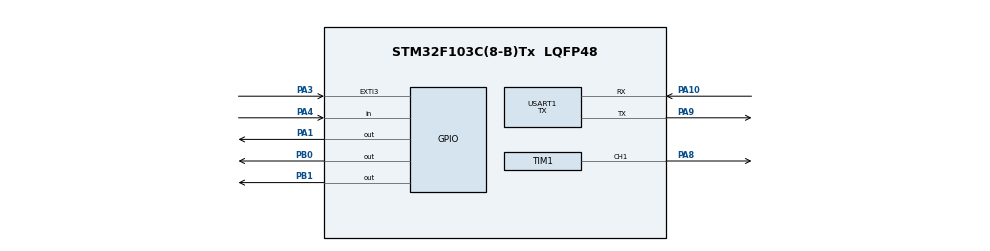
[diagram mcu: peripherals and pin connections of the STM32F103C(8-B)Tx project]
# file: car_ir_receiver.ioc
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Mcu.Family=STM32F1
Mcu.Name=STM32F103C(8-B)Tx
Mcu.Package=LQFP48
NVIC.EXTI3_IRQn=true\:0\:0\:false\:false\:true\:true\:true
NVIC.PriorityGroup=NVIC_PRIORITYGROUP_4
NVIC.TIM1_UP_IRQn=true\:0\:0\:false\:false\:true\:true\:true
NVIC.TIM2_IRQn=true\:0\:0\:false\:false\:true\:true\:true
PA1.Signal=GPIO_Output
PA10.Mode=Asynchronous
PA10.Signal=USART1_RX
PA13.Mode=Serial_Wire
PA13.Signal=SYS_JTMS-SWDIO
PA14.Mode=Serial_Wire
PA14.Signal=SYS_JTCK-SWCLK
PA3.GPIO_ModeDefaultEXTI=GPIO_MODE_IT_FALLING
PA3.GPIO_PuPd=GPIO_PULLUP
PA3.Signal=GPXTI3
PA4.GPIO_PuPd=GPIO_PULLUP
PA4.Signal=GPIO_Input
PA8.GPIO_Speed=GPIO_SPEED_FREQ_HIGH
PA8.Signal=S_TIM1_CH1
PA9.Mode=Asynchronous
PA9.Signal=USART1_TX
PB0.Signal=GPIO_Output
PB1.GPIO_ModeDefaultOutputPP=GPIO_MODE_OUTPUT_PP
PB1.Signal=GPIO_Output
PC14-OSC32_IN.Mode=LSE-External-Oscillator
PC14-OSC32_IN.Signal=RCC_OSC32_IN
PC15-OSC32_OUT.Mode=LSE-External-Oscillator
PC15-OSC32_OUT.Signal=RCC_OSC32_OUT
PD0-OSC_IN.Mode=HSE-External-Oscillator
PD0-OSC_IN.Signal=RCC_OSC_IN
PD1-OSC_OUT.Mode=HSE-External-Oscillator
PD1-OSC_OUT.Signal=RCC_OSC_OUT
ProjectManager.HeapSize=0x200
ProjectManager.StackSize=0x400
ProjectManager.TargetToolchain=TrueSTUDIO
RCC.AHBFreq_Value=16000000
RCC.APB1CLKDivider=RCC_HCLK_DIV2
RCC.APB1Freq_Value=8000000
RCC.APB1TimFreq_Value=16000000
RCC.APB2Freq_Value=16000000
RCC.APB2TimFreq_Value=16000000
RCC.HCLKFreq_Value=16000000
RCC.PLLSourceVirtual=RCC_PLLSOURCE_HSE
RCC.SYSCLKFreq_VALUE=16000000
RCC.SYSCLKSource=RCC_SYSCLKSOURCE_PLLCLK
RCC.USBFreq_Value=16000000
SH.S_TIM1_CH1.0=TIM1_CH1,PWM Generation1 CH1
TIM1.Channel-PWM\ Generation1\ CH1=TIM_CHANNEL_1
TIM1.OCMode_PWM-PWM\ Generation1\ CH1=TIM_OCMODE_PWM2
TIM1.Period=7
TIM1.Prescaler=15
TIM1.Pulse-PWM\ Generation1\ CH1=4
TIM2.AutoReloadPreload=TIM_AUTORELOAD_PRELOAD_ENABLE
TIM2.Period=99
TIM2.Prescaler=15
USART1.Mode=MODE_TX
USART1.VirtualMode=VM_ASYNC
VP_TIM1_VS_ClockSourceINT.Mode=Internal
VP_TIM1_VS_OPM.Mode=OPM_bit
VP_TIM2_VS_ClockSourceINT.Mode=Internal
board=custom

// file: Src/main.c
/* USER CODE BEGIN Header */
/**
  ******************************************************************************
  * @file           : main.c
  * @brief          : Main program body
  * Nikolay Belov, 2019
  ******************************************************************************
  * @attention
  *
  * <h2><center>&copy; Copyright (c) 2019 STMicroelectronics.
  * All rights reserved.</center></h2>
  *
  * This software component is licensed by ST under BSD 3-Clause license,
  * the "License"; You may not use this file except in compliance with the
  * License. You may obtain a copy of the License at:
  *                        opensource.org/licenses/BSD-3-Clause
  *
  ******************************************************************************
  */
/* USER CODE END Header */

#include "main.h"

/* USER CODE BEGIN Includes */
#include <stdio.h>
//#include "ir_codes.h"
#include "flash.h"

/* USER CODE END Includes */

/* USER CODE BEGIN PTD */

typedef union {
	uint8_t adcod[2];	// adcod[0] - address, adcod[1] - code
	uint16_t adrcode;	// both
} ir_codes;

/* USER CODE END PTD */

/* USER CODE BEGIN PD */

#define PAGE_63_ADDR 	0x0800FC00
#define CODES_SIGNATURE	0x66AA
#define CODES_MAX		25
#define PULSES_MAX		99
// duration connected state of Potentiometer, mS
#define KEY_PULSE		200

/* USER CODE END PD */

/* USER CODE BEGIN PV */
uint8_t flag_pulse = 0;

uint8_t flagCounting = 0;
uint16_t ucTim2Flag = 0;

// IR packet variables
uint8_t irdata[33];             //Used to record the time between two falling edges
uint8_t receiveComplete;        //Receive Complete Flag Bits
uint8_t idx;                    //Number received for indexing
uint8_t startflag;              //Indicates start of reception
char sndbuf[128];
ir_codes butt_codes[CODES_MAX];	// signature + IR codes array

uint8_t teachingFlag = 0;		//
uint8_t teach_counter = 0;
//uint8_t ir_address = 0;

/* USER CODE END PV */

void SystemClock_Config(void);
static void MX_GPIO_Init(void);
static void MX_TIM1_Init(void);
static void MX_TIM2_Init(void);
static void MX_USART1_UART_Init(void);
/* USER CODE BEGIN PFP */
ir_codes decode_package(void);
uint8_t get_pulses(ir_codes adcom);
void led_blink(uint8_t cnt);
void BufferTransfer(char *buf, uint8_t sz);
void save_codes_to_flash(void);

/* USER CODE END PFP */

int main(void)
{
  /* USER CODE BEGIN 1 */
	int8_t curr_count = 0;
  /* USER CODE END 1 */

  /* MCU Configuration--------------------------------------------------------*/

  /* Reset of all peripherals, Initializes the Flash interface and the Systick. */

  LL_APB2_GRP1_EnableClock(LL_APB2_GRP1_PERIPH_AFIO);
  LL_APB1_GRP1_EnableClock(LL_APB1_GRP1_PERIPH_PWR);

  NVIC_SetPriorityGrouping(NVIC_PRIORITYGROUP_4);

  /* System interrupt init*/

  /** NOJTAG: JTAG-DP Disabled and SW-DP Enabled
  */
  LL_GPIO_AF_Remap_SWJ_NOJTAG();

  /* Configure the system clock */
  SystemClock_Config();

  /* Initialize all configured peripherals */
  MX_GPIO_Init();
  MX_TIM1_Init();
  MX_TIM2_Init();
  MX_USART1_UART_Init();
  /* USER CODE BEGIN 2 */

	receiveComplete = 0;
	startflag = 0;
	LL_GPIO_ResetOutputPin(GPIOB, LL_GPIO_PIN_1);	// break Potentiometer out

	// FLASH read
	uint32_t addr = PAGE_63_ADDR;
	for (uint8_t i = 0; i < (CODES_MAX); i++)
	{
		butt_codes[i].adrcode = flash_read(addr);
		addr += 2;
	}

	if (butt_codes[0].adrcode != CODES_SIGNATURE) {
		// saved array not exists -> Set Teaching mode
		teachingFlag = 1;
		teach_counter = 1;
		led_blink(4);
	}

  /**************************/
    /* Start pulse generation */
    /**************************/
    /* Enable channel 1 */
    LL_TIM_CC_EnableChannel(TIM1, LL_TIM_CHANNEL_CH1);
    //LL_TIM_CC_EnableChannel(TIM1, LL_TIM_CHANNEL_CH1N);

    /* Enable TIM1 outputs */
    LL_TIM_EnableAllOutputs(TIM1);

    /* Enable auto-reload register preload */
    LL_TIM_EnableARRPreload(TIM1);

    LL_TIM_EnableIT_UPDATE(TIM1);

    // Set Potentiometer to 0
    LL_TIM_DisableCounter(TIM1);
	LL_GPIO_ResetOutputPin(GPIOB, LL_GPIO_PIN_0);	// count down
	LL_TIM_SetRepetitionCounter(TIM1, 100);
	LL_TIM_GenerateEvent_UPDATE(TIM1);	// update RCR
	flag_pulse = 1;
	LL_TIM_EnableCounter(TIM1);
	while (flag_pulse)
	{
		LL_mDelay(4);
	}

  /* USER CODE END 2 */

  /* Infinite loop */
  /* USER CODE BEGIN WHILE */
	ir_codes ircode;

  while (1)
  {
    /* USER CODE END WHILE */

    /* USER CODE BEGIN 3 */
	  if (receiveComplete)	// packet received
	  {
		  ircode = decode_package();	// 0xFF - broken IR package (code != ~code)
		  if (ircode.adcod[1] < 0xFF)
		  {
			  if (teachingFlag)
			  {
				  if (teach_counter < CODES_MAX)
				  {
					  butt_codes[teach_counter].adrcode = ircode.adrcode;
					  teach_counter++;
				  }
				  if (teach_counter == CODES_MAX)
				  {
					  led_blink(5);	// 5 - save codes and switch to work mode
					  save_codes_to_flash();
					  teachingFlag = 0;
					  teach_counter = 1;
				  }
				  else
				  {
					  led_blink(2);	// 2 - expect next code
				  }
			  }
			  else	// work mode
			  {
				  LL_GPIO_SetOutputPin(GPIOA, LL_GPIO_PIN_1);

				  int8_t npulses = get_pulses(ircode);
				  while (flag_pulse)
				  {
					  LL_mDelay(4);
				  }
				  uint8_t pulses = 0;
				  int8_t d = curr_count - npulses;
				  if ( d != 0)
				  {
					  if (d > 0)	// count down
					  {
						  LL_GPIO_ResetOutputPin(GPIOB, LL_GPIO_PIN_0);
						  pulses = d;
						  if (pulses > curr_count)
						  {
							  curr_count = 0;
						  }
						  else
						  {
							  curr_count -= pulses;
						  }
					  }
					  else	// count up
					  {
						  LL_GPIO_SetOutputPin(GPIOB, LL_GPIO_PIN_0);
						  pulses = -d;
						  if ((curr_count + pulses) > PULSES_MAX)
						  {
							  curr_count = PULSES_MAX;
						  }
						  else
						  {
							  curr_count += pulses;
						  }
					  }
					  LL_TIM_SetRepetitionCounter(TIM1, pulses - 1);
					  LL_TIM_GenerateEvent_UPDATE(TIM1);	// update RCR
					  flag_pulse = 1;
					  LL_TIM_EnableCounter(TIM1);

					  receiveComplete = 0;
					  startflag = 0;

					  while (flag_pulse)
					  {
						  LL_mDelay(4);
					  }
				  }
				  // connect Potentiometer out
				  LL_GPIO_SetOutputPin(GPIOB, LL_GPIO_PIN_1);
				  LL_mDelay(KEY_PULSE);
				  // break Potentiometer out
				  LL_GPIO_ResetOutputPin(GPIOB, LL_GPIO_PIN_1);

				  LL_GPIO_ResetOutputPin(GPIOA, LL_GPIO_PIN_1);
			  }
		  }
		  receiveComplete = 0;
		  startflag = 0;
		  BufferTransfer(sndbuf, 32);
	  }	// if (receiveComplete)
	  else
	  {
		  // Check if Teaching mode button is pressed
		  if (!LL_GPIO_IsInputPinSet(GPIOA, LL_GPIO_PIN_4))
		  {
			  if (!teachingFlag)
			  {
				  // Set Teaching mode
				  teachingFlag = 1;
				  teach_counter = 1;
				  led_blink(4);
			  }
		  }
	  }

  }
  /* USER CODE END 3 */
}

void SystemClock_Config(void)
{
  LL_FLASH_SetLatency(LL_FLASH_LATENCY_0);

  if(LL_FLASH_GetLatency() != LL_FLASH_LATENCY_0)
  {
    Error_Handler();
  }
  LL_RCC_HSE_Enable();

   /* Wait till HSE is ready */
  while(LL_RCC_HSE_IsReady() != 1)
  {

  }
  LL_RCC_PLL_ConfigDomain_SYS(LL_RCC_PLLSOURCE_HSE_DIV_1, LL_RCC_PLL_MUL_2);
  LL_RCC_PLL_Enable();

   /* Wait till PLL is ready */
  while(LL_RCC_PLL_IsReady() != 1)
  {

  }
  LL_RCC_SetAHBPrescaler(LL_RCC_SYSCLK_DIV_1);
  LL_RCC_SetAPB1Prescaler(LL_RCC_APB1_DIV_2);
  LL_RCC_SetAPB2Prescaler(LL_RCC_APB2_DIV_1);
  LL_RCC_SetSysClkSource(LL_RCC_SYS_CLKSOURCE_PLL);

   /* Wait till System clock is ready */
  while(LL_RCC_GetSysClkSource() != LL_RCC_SYS_CLKSOURCE_STATUS_PLL)
  {

  }
  LL_Init1msTick(16000000);
  LL_SYSTICK_SetClkSource(LL_SYSTICK_CLKSOURCE_HCLK);
  LL_SetSystemCoreClock(16000000);
}

static void MX_TIM1_Init(void)
{

  LL_TIM_InitTypeDef TIM_InitStruct = {0};
  LL_TIM_OC_InitTypeDef TIM_OC_InitStruct = {0};
  LL_TIM_BDTR_InitTypeDef TIM_BDTRInitStruct = {0};

  LL_GPIO_InitTypeDef GPIO_InitStruct = {0};

  /* Peripheral clock enable */
  LL_APB2_GRP1_EnableClock(LL_APB2_GRP1_PERIPH_TIM1);

  /* TIM1 interrupt Init */
  NVIC_SetPriority(TIM1_UP_IRQn, NVIC_EncodePriority(NVIC_GetPriorityGrouping(),0, 0));
  NVIC_EnableIRQ(TIM1_UP_IRQn);

  TIM_InitStruct.Prescaler = 15;
  TIM_InitStruct.CounterMode = LL_TIM_COUNTERMODE_UP;
  TIM_InitStruct.Autoreload = 7;
  TIM_InitStruct.ClockDivision = LL_TIM_CLOCKDIVISION_DIV1;
  TIM_InitStruct.RepetitionCounter = 0;
  LL_TIM_Init(TIM1, &TIM_InitStruct);
  LL_TIM_DisableARRPreload(TIM1);
  LL_TIM_SetClockSource(TIM1, LL_TIM_CLOCKSOURCE_INTERNAL);
  LL_TIM_OC_EnablePreload(TIM1, LL_TIM_CHANNEL_CH1);
  TIM_OC_InitStruct.OCMode = LL_TIM_OCMODE_PWM2;
  TIM_OC_InitStruct.OCState = LL_TIM_OCSTATE_DISABLE;
  TIM_OC_InitStruct.OCNState = LL_TIM_OCSTATE_DISABLE;
  TIM_OC_InitStruct.CompareValue = 4;
  TIM_OC_InitStruct.OCPolarity = LL_TIM_OCPOLARITY_HIGH;
  TIM_OC_InitStruct.OCNPolarity = LL_TIM_OCPOLARITY_HIGH;
  TIM_OC_InitStruct.OCIdleState = LL_TIM_OCIDLESTATE_LOW;
  TIM_OC_InitStruct.OCNIdleState = LL_TIM_OCIDLESTATE_LOW;
  LL_TIM_OC_Init(TIM1, LL_TIM_CHANNEL_CH1, &TIM_OC_InitStruct);
  LL_TIM_OC_DisableFast(TIM1, LL_TIM_CHANNEL_CH1);
  LL_TIM_SetOnePulseMode(TIM1, LL_TIM_ONEPULSEMODE_SINGLE);
  LL_TIM_SetTriggerOutput(TIM1, LL_TIM_TRGO_RESET);
  LL_TIM_DisableMasterSlaveMode(TIM1);
  TIM_BDTRInitStruct.OSSRState = LL_TIM_OSSR_DISABLE;
  TIM_BDTRInitStruct.OSSIState = LL_TIM_OSSI_DISABLE;
  TIM_BDTRInitStruct.LockLevel = LL_TIM_LOCKLEVEL_OFF;
  TIM_BDTRInitStruct.DeadTime = 0;
  TIM_BDTRInitStruct.BreakState = LL_TIM_BREAK_DISABLE;
  TIM_BDTRInitStruct.BreakPolarity = LL_TIM_BREAK_POLARITY_HIGH;
  TIM_BDTRInitStruct.AutomaticOutput = LL_TIM_AUTOMATICOUTPUT_DISABLE;
  LL_TIM_BDTR_Init(TIM1, &TIM_BDTRInitStruct);
  LL_APB2_GRP1_EnableClock(LL_APB2_GRP1_PERIPH_GPIOA);
  /**TIM1 GPIO Configuration
  PA8   ------> TIM1_CH1
  */
  GPIO_InitStruct.Pin = LL_GPIO_PIN_8;
  GPIO_InitStruct.Mode = LL_GPIO_MODE_ALTERNATE;
  GPIO_InitStruct.Speed = LL_GPIO_SPEED_FREQ_HIGH;
  GPIO_InitStruct.OutputType = LL_GPIO_OUTPUT_PUSHPULL;
  LL_GPIO_Init(GPIOA, &GPIO_InitStruct);

}

static void MX_TIM2_Init(void)
{

  LL_TIM_InitTypeDef TIM_InitStruct = {0};

  /* Peripheral clock enable */
  LL_APB1_GRP1_EnableClock(LL_APB1_GRP1_PERIPH_TIM2);

  /* TIM2 interrupt Init */
  NVIC_SetPriority(TIM2_IRQn, NVIC_EncodePriority(NVIC_GetPriorityGrouping(),0, 0));
  NVIC_EnableIRQ(TIM2_IRQn);

  TIM_InitStruct.Prescaler = 15;
  TIM_InitStruct.CounterMode = LL_TIM_COUNTERMODE_UP;
  TIM_InitStruct.Autoreload = 99;
  TIM_InitStruct.ClockDivision = LL_TIM_CLOCKDIVISION_DIV1;
  LL_TIM_Init(TIM2, &TIM_InitStruct);
  LL_TIM_EnableARRPreload(TIM2);
  LL_TIM_SetClockSource(TIM2, LL_TIM_CLOCKSOURCE_INTERNAL);
  LL_TIM_SetTriggerOutput(TIM2, LL_TIM_TRGO_RESET);
  LL_TIM_DisableMasterSlaveMode(TIM2);
  /* USER CODE BEGIN TIM2_Init 2 */
  LL_TIM_EnableIT_UPDATE(TIM2);
  LL_TIM_EnableCounter(TIM2);
  LL_TIM_GenerateEvent_UPDATE(TIM2);
  /* USER CODE END TIM2_Init 2 */

}

static void MX_USART1_UART_Init(void)
{

  LL_USART_InitTypeDef USART_InitStruct = {0};

  LL_GPIO_InitTypeDef GPIO_InitStruct = {0};

  /* Peripheral clock enable */
  LL_APB2_GRP1_EnableClock(LL_APB2_GRP1_PERIPH_USART1);

  LL_APB2_GRP1_EnableClock(LL_APB2_GRP1_PERIPH_GPIOA);
  /**USART1 GPIO Configuration
  PA9   ------> USART1_TX
  PA10   ------> USART1_RX
  */
  GPIO_InitStruct.Pin = LL_GPIO_PIN_9;
  GPIO_InitStruct.Mode = LL_GPIO_MODE_ALTERNATE;
  GPIO_InitStruct.Speed = LL_GPIO_SPEED_FREQ_HIGH;
  GPIO_InitStruct.OutputType = LL_GPIO_OUTPUT_PUSHPULL;
  LL_GPIO_Init(GPIOA, &GPIO_InitStruct);

  GPIO_InitStruct.Pin = LL_GPIO_PIN_10;
  GPIO_InitStruct.Mode = LL_GPIO_MODE_FLOATING;
  LL_GPIO_Init(GPIOA, &GPIO_InitStruct);

  USART_InitStruct.BaudRate = 115200;
  USART_InitStruct.DataWidth = LL_USART_DATAWIDTH_8B;
  USART_InitStruct.StopBits = LL_USART_STOPBITS_1;
  USART_InitStruct.Parity = LL_USART_PARITY_NONE;
  USART_InitStruct.TransferDirection = LL_USART_DIRECTION_TX;
  USART_InitStruct.HardwareFlowControl = LL_USART_HWCONTROL_NONE;
  USART_InitStruct.OverSampling = LL_USART_OVERSAMPLING_16;
  LL_USART_Init(USART1, &USART_InitStruct);
  LL_USART_ConfigAsyncMode(USART1);
  LL_USART_Enable(USART1);

}

static void MX_GPIO_Init(void)
{
  LL_EXTI_InitTypeDef EXTI_InitStruct = {0};
  LL_GPIO_InitTypeDef GPIO_InitStruct = {0};

  /* GPIO Ports Clock Enable */
  LL_APB2_GRP1_EnableClock(LL_APB2_GRP1_PERIPH_GPIOC);
  LL_APB2_GRP1_EnableClock(LL_APB2_GRP1_PERIPH_GPIOD);
  LL_APB2_GRP1_EnableClock(LL_APB2_GRP1_PERIPH_GPIOA);
  LL_APB2_GRP1_EnableClock(LL_APB2_GRP1_PERIPH_GPIOB);

  /**/
  LL_GPIO_ResetOutputPin(GPIOA, LL_GPIO_PIN_1);

  /**/
  LL_GPIO_ResetOutputPin(GPIOB, LL_GPIO_PIN_0|LL_GPIO_PIN_1);

  /**/
  GPIO_InitStruct.Pin = LL_GPIO_PIN_1;
  GPIO_InitStruct.Mode = LL_GPIO_MODE_OUTPUT;
  GPIO_InitStruct.Speed = LL_GPIO_SPEED_FREQ_LOW;
  GPIO_InitStruct.OutputType = LL_GPIO_OUTPUT_PUSHPULL;
  LL_GPIO_Init(GPIOA, &GPIO_InitStruct);

  /**/
  GPIO_InitStruct.Pin = LL_GPIO_PIN_4;
  GPIO_InitStruct.Mode = LL_GPIO_MODE_INPUT;
  GPIO_InitStruct.Pull = LL_GPIO_PULL_UP;
  LL_GPIO_Init(GPIOA, &GPIO_InitStruct);

  /**/
  GPIO_InitStruct.Pin = LL_GPIO_PIN_0|LL_GPIO_PIN_1;
  GPIO_InitStruct.Mode = LL_GPIO_MODE_OUTPUT;
  GPIO_InitStruct.Speed = LL_GPIO_SPEED_FREQ_LOW;
  GPIO_InitStruct.OutputType = LL_GPIO_OUTPUT_PUSHPULL;
  LL_GPIO_Init(GPIOB, &GPIO_InitStruct);

  /**/
  LL_GPIO_AF_SetEXTISource(LL_GPIO_AF_EXTI_PORTA, LL_GPIO_AF_EXTI_LINE3);

  /**/
  EXTI_InitStruct.Line_0_31 = LL_EXTI_LINE_3;
  EXTI_InitStruct.LineCommand = ENABLE;
  EXTI_InitStruct.Mode = LL_EXTI_MODE_IT;
  EXTI_InitStruct.Trigger = LL_EXTI_TRIGGER_FALLING;
  LL_EXTI_Init(&EXTI_InitStruct);

  /**/
  LL_GPIO_SetPinPull(GPIOA, LL_GPIO_PIN_3, LL_GPIO_PULL_UP);

  /**/
  LL_GPIO_SetPinMode(GPIOA, LL_GPIO_PIN_3, LL_GPIO_MODE_INPUT);

  /* EXTI interrupt init*/
  NVIC_SetPriority(EXTI3_IRQn, NVIC_EncodePriority(NVIC_GetPriorityGrouping(),0, 0));
  NVIC_EnableIRQ(EXTI3_IRQn);

}

/* USER CODE BEGIN 4 */

void led_blink(uint8_t cnt)
{
	for (uint8_t i = 0; i < cnt; i++)
	{
		LL_GPIO_SetOutputPin(GPIOA, LL_GPIO_PIN_1);
		LL_mDelay(200);
		LL_GPIO_ResetOutputPin(GPIOA, LL_GPIO_PIN_1);
		LL_mDelay(200);
	}
}

void BufferTransfer(char *buf, uint8_t sz)
{
	for (uint8_t i = 0; i < sz; i++)
	{
		while (!LL_USART_IsActiveFlag_TXE(USART1)) {};
		if (i == (sz - 1))
		{
			LL_USART_ClearFlag_TC(USART1);
		}
		LL_USART_TransmitData8(USART1, buf[i]);
	}

	/* Wait for TC flag to be raised for last char */
	while (!LL_USART_IsActiveFlag_TC(USART1)) {};
}

void save_codes_to_flash(void)
{
	butt_codes[0].adrcode = CODES_SIGNATURE;
	uint32_t addr = PAGE_63_ADDR;
	flash_unlock();
	flash_erase_page(PAGE_63_ADDR);
	flash_lock();

	flash_unlock();
	for (uint8_t i = 0; i < CODES_MAX; i++)
	{
		flash_write(addr, butt_codes[i].adrcode);
		addr += 2;
	}
	flash_lock();
}

uint8_t get_pulses(ir_codes adcom)
{
	uint8_t res = 0;

	for (uint8_t i = 1; i < CODES_MAX; i++)
	{
		if ((butt_codes[i].adcod[1] == adcom.adcod[1])
				&& (butt_codes[i].adcod[0] == adcom.adcod[0]))
		{
			res = i * 4;
			break;
		}
	}
	return res;
}

ir_codes decode_package(void)
{
	uint8_t i, j;
    // idx starts with 1 to indicate that
	// the synchronization header time is not handled
    uint8_t idx = 1;
    uint8_t temp = 0;
    uint8_t remote_code[4];
    ir_codes res;

    for(i=0; i<4; i++)
    {
        for(j=0; j<8; j++)
        {
            if ((irdata[idx] >=8) && (irdata[idx] < 15))   //Represents 0
            {
            	temp = 0;
            }
            else if ((irdata[idx] >=18) && (irdata[idx]<25)) //Represents 1
            {
            	temp = 0x80; //temp = 1;
            }
            //remote_code[i] <<= 1;
            remote_code[i] >>= 1;
            remote_code[i] |= temp;
            idx++;
        }
    }
    // The array records control codes, each key is different
    sprintf(sndbuf, "A1:%02x A2:%02x C1:%02x C2:%02x Cmd:%03d\n",
    	remote_code[0], remote_code[1], remote_code[2], remote_code[3],
		remote_code[2]);

    if ((remote_code[2] | remote_code[3]) == 0xFF)
    {
    	res.adcod[0] = remote_code[0];
    	res.adcod[1] = remote_code[2];
    }
    else
    {
    	res.adrcode = 0xFFFF;
    }
    return res;
}

/* USER CODE END 4 */

void Error_Handler(void)
{
}

/************************ (C) COPYRIGHT STMicroelectronics *****END OF FILE****/
